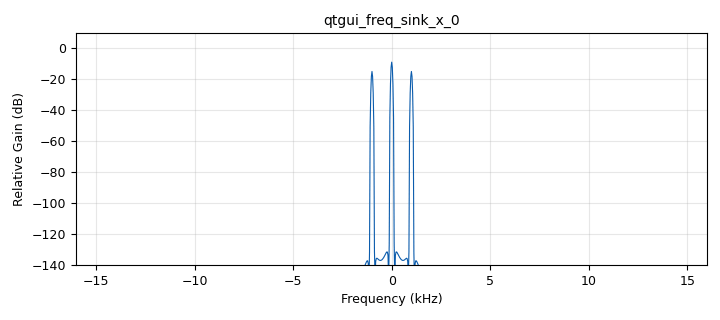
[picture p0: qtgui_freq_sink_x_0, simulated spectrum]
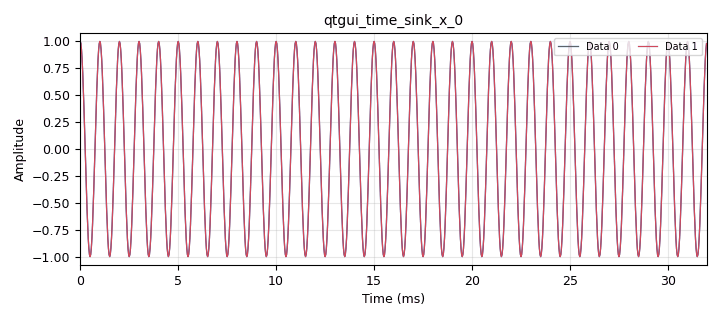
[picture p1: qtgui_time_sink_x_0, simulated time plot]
options:
  parameters:
    generate_options: qt_gui
    id: top_block
    output_language: python
  states: {}

blocks:
- name: m
  id: variable_qtgui_range
  parameters:
    label: m
    outputmsgname: value
    showports: 'False'
    start: '0'
    step: '0.1'
    stop: '1'
    value: '1'
  states: {}
- name: ruido
  id: variable_qtgui_range
  parameters:
    label: ruido
    outputmsgname: value
    showports: 'False'
    start: '0'
    step: '0.1'
    stop: '1'
    value: '0'
  states: {}
- name: samp_rate
  id: variable
  parameters:
    value: '32000'
  states: {}
- name: analog_const_source_x_0
  id: analog_const_source_x
  parameters:
    const: '1'
    type: float
  states: {}
- name: analog_noise_source_x_0
  id: analog_noise_source_x
  parameters:
    amp: ruido
    comment: Ruido
    noise_type: analog.GR_UNIFORM
    seed: '0'
    type: complex
  states: {}
- name: analog_sig_source_x_0
  id: analog_sig_source_x
  parameters:
    amp: m
    freq: '1000'
    offset: '0'
    phase: '0'
    samp_rate: samp_rate
    type: float
    waveform: analog.GR_COS_WAVE
  states: {}
- name: audio_sink_0
  id: audio_sink
  parameters:
    samp_rate: samp_rate
  states: {}
- name: blocks_add_const_vxx_0
  id: blocks_add_const_vxx
  parameters:
    comment: le saca el nivel de portadora
    const: '-1'
    type: float
  states: {}
- name: blocks_add_xx_0
  id: blocks_add_xx
  parameters:
    comment: El canal agrega Ruido
    type: complex
  states: {}
- name: blocks_add_xx_1
  id: blocks_add_xx
  parameters:
    comment: suma portadora con mensaje
    type: float
  states: {}
- name: blocks_complex_to_mag_0
  id: blocks_complex_to_mag
  parameters:
    comment: |-
      El demodulador impelemtado como 
      un detector de envolvente
  states: {}
- name: blocks_float_to_complex_0
  id: blocks_float_to_complex
  parameters:
    comment: la modulacion es la parte real de la senal
  states: {}
- name: qtgui_freq_sink_x_0
  id: qtgui_freq_sink_x
  parameters:
    bw: samp_rate
    fc: '0'
    fftsize: '1024'
    showports: 'True'
    type: complex
  states: {}
- name: qtgui_time_sink_x_0
  id: qtgui_time_sink_x
  parameters:
    label1: ''
    label2: ''
    nconnections: '2'
    size: '1024'
    srate: samp_rate
    type: float
  states: {}

connections:
- [analog_const_source_x_0, '0', blocks_add_xx_1, '1']
- [analog_noise_source_x_0, '0', blocks_add_xx_0, '1']
- [analog_sig_source_x_0, '0', blocks_add_xx_1, '0']
- [analog_sig_source_x_0, '0', qtgui_time_sink_x_0, '1']
- [blocks_add_const_vxx_0, '0', audio_sink_0, '0']
- [blocks_add_const_vxx_0, '0', qtgui_time_sink_x_0, '0']
- [blocks_add_xx_0, '0', blocks_complex_to_mag_0, '0']
- [blocks_add_xx_0, '0', qtgui_freq_sink_x_0, '0']
- [blocks_add_xx_1, '0', blocks_float_to_complex_0, '0']
- [blocks_complex_to_mag_0, '0', blocks_add_const_vxx_0, '0']
- [blocks_float_to_complex_0, '0', blocks_add_xx_0, '0']

metadata:
  file_format: 1
  grc_version: 3.10.4.0
